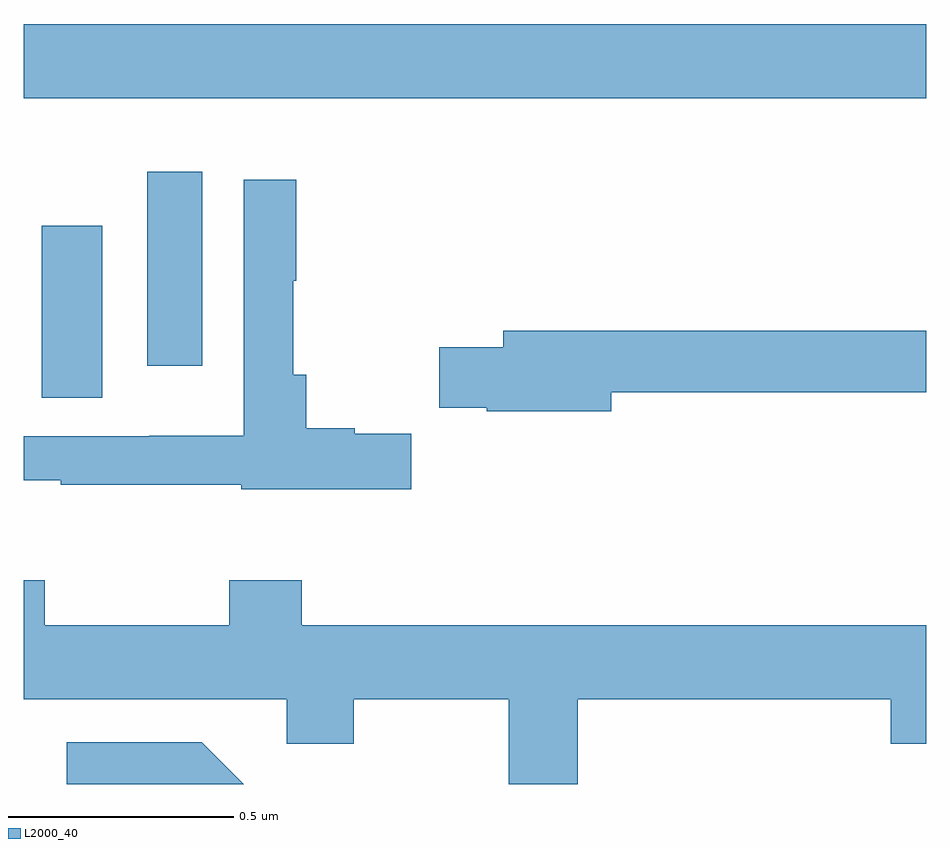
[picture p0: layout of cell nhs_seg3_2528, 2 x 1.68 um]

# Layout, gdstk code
import gdstk
lib = gdstk.Library(unit=1e-6, precision=1e-09)
def R(c, l, rs):  # rectangles x0, y0, x1, y1
    for r in rs: c.add(gdstk.rectangle(r[:2], r[2:], *l))
def P(c, l, *ps):  # polygons
    for p in ps: c.add(gdstk.Polygon(p, *l))
L2000_40 = (2000, 40)

nhs_seg3_2528 = lib.new_cell('nhs_seg3_2528')
R(nhs_seg3_2528, L2000_40, [(142.04,696.256,142.174,696.637), (142.274,696.327,142.396,696.757), (142,696.92,144,697.084)])
P(nhs_seg3_2528, L2000_40, [(142.859,696.176),(142.734,696.176),(142.734,696.188),(142.626,696.188),(142.626,696.307),(142.597,696.307),(142.597,696.515),(142.604,696.515),(142.604,696.739),(142.488,696.739),(142.488,696.172),(142.278,696.172),(142.278,696.171),(142,696.171),(142,696.073),(142.082,696.073),(142.082,696.063),(142.482,696.063),(142.482,696.053),(142.859,696.053)],
  [(143.302,696.268),(144,696.268),(144,696.404),(143.063,696.404),(143.063,696.368),(142.921,696.368),(142.921,696.234),(143.026,696.234),(143.026,696.226),(143.302,696.226)],
  [(143.228,695.588),(143.921,695.588),(143.921,695.489),(144,695.489),(144,695.752),(142.616,695.752),(142.616,695.851),(142.456,695.851),(142.456,695.752),(142.047,695.752),(142.047,695.851),(142,695.851),(142,695.588),(142.583,695.588),(142.583,695.489),(142.731,695.489),(142.731,695.588),(143.075,695.588),(143.075,695.4),(143.228,695.4)],
  [(142.395,695.493),(142.095,695.493),(142.095,695.4),(142.488,695.4)])

lib.write_gds('nhs_seg3_2528.gds')
